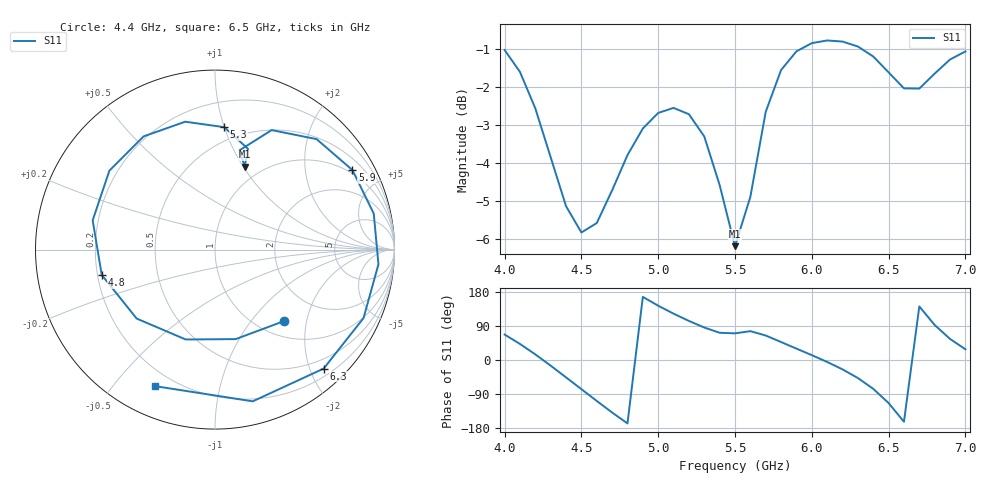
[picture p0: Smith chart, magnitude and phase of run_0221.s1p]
! Touchstone file exported from HFSS 2024.2.0
!  File:  C:/Users/wsak9/Desktop/Sim Fast/Widenad Patch/WP_AI_V1_sweep.aedt
!  Generated:  12:13:39 AM Oct 14, 2026
!  Design:  A1_model
!  Project:  WP_AI_V1_sweep
!  Setup:  Setup1
!  Solution:  Sweep
! Variables:
!  Air_gap = 4.08mm
!  Curve_Amp1 = 3.01
!  Curve_len1 = 1
!  Curve_pos = 11.365mm
!  Extra = 2.82mm
!  H_sub = 0.79mm
!  L_Patch = 18.73mm
!  L_Patch1 = 16.16mm
!  Sx = 0.27mm
!  Sy = 0.88mm
!  WS = 0.98mm
!  W_Patch = 22.24mm
!  W_Patch1 = 13.34mm
!Data is not renormalized
# GHz S MA
! Terminal data exported
! Port[1] = 1
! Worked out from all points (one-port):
!   31 points, 4 GHz to 7 GHz, reference per port
!   lowest |S11| = -6.2 dB at 5.5 GHz (marker M1), VSWR 2.93
!   |S11| at or under -10 dB: nowhere
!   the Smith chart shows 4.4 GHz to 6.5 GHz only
!   S11 on the Smith chart (normalised r, x): 4.4 GHz: 1.29, -1.49; 4.8 GHz: 0.22, -0.11; 5.3 GHz: 0.39, +1.00; 5.9 GHz: 0.87, +3.53; 6.3 GHz: 0.33, -2.23; 6.5 GHz: 0.13, -0.65
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4  0.8884 67.2
4.1  0.8314 42.3
4.2  0.7447 14.8
4.3  0.6424 -15.0
4.4  0.5542 -45.9
4.6  0.5267 -108.1
4.7  0.5814 -138.6
4.8  0.6467 -167.4
4.9  0.7007 166.5
5  0.7346 143.2
5.2  0.7317 103.1
5.3  0.6841 85.7
5.4  0.5907 71.9
5.5  0.4911 70.3
5.6  0.5701 76.1
5.7  0.7369 64.6
5.8  0.8362 47.4
5.9  0.8847 30.1
6.1  0.9143 -5.1
6.2  0.9113 -24.8
6.3  0.8977 -47.6
6.4  0.8711 -76.0
6.5  0.8304 -113.6
6.6  0.7912 -162.9
6.7  0.7906 141.3
6.8  0.8272 92.3
6.9  0.8632 55.6
7  0.8845 28.4
